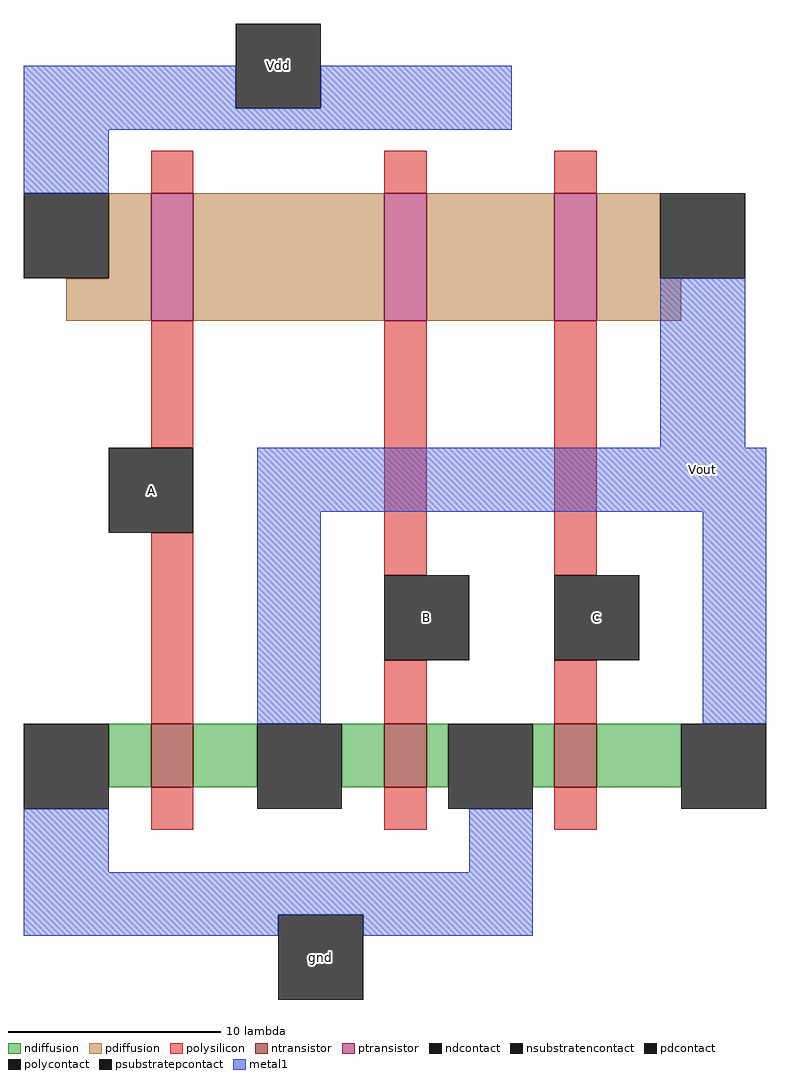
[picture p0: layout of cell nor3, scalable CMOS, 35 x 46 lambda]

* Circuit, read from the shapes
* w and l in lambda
.subckt nor3 A B C Vdd Vout gnd
M1 Vout A gnd gnd nfet w=3 l=2
M2 gnd B Vout gnd nfet w=3 l=2
M3 Vout C gnd gnd nfet w=3 l=2
M4 n1 A Vdd Vdd pfet w=6 l=2
M5 n2 B n1 Vdd pfet w=6 l=2
M6 Vout C n2 Vdd pfet w=6 l=2
.ends

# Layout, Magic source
magic
tech scmos
<< polysilicon >>
rect 5 24 7 26
rect 16 24 18 26
rect 24 24 26 26
rect 5 12 7 18
rect 5 -1 7 8
rect 16 6 18 18
rect 24 6 26 18
rect 16 -1 18 2
rect 24 -1 26 2
rect 5 -6 7 -4
rect 16 -6 18 -4
rect 24 -6 26 -4
<< ndiffusion >>
rect 3 -4 5 -1
rect 7 -4 10 -1
rect 14 -4 16 -1
rect 18 -4 19 -1
rect 23 -4 24 -1
rect 26 -4 30 -1
<< pdiffusion >>
rect 3 20 5 24
rect 1 18 5 20
rect 7 18 16 24
rect 18 18 24 24
rect 26 20 29 24
rect 26 18 30 20
<< metal1 >>
rect -1 28 9 30
rect 13 28 22 30
rect -1 27 22 28
rect -1 24 3 27
rect 29 12 33 20
rect 10 9 34 12
rect 10 -1 13 9
rect 31 -1 34 9
rect -1 -8 3 -5
rect 20 -8 23 -5
rect -1 -10 23 -8
rect -1 -11 11 -10
rect 15 -11 23 -10
<< ntransistor >>
rect 5 -4 7 -1
rect 16 -4 18 -1
rect 24 -4 26 -1
<< ptransistor >>
rect 5 18 7 24
rect 16 18 18 24
rect 24 18 26 24
<< polycontact >>
rect 3 8 7 12
rect 16 2 20 6
rect 24 2 28 6
<< ndcontact >>
rect -1 -5 3 -1
rect 10 -5 14 -1
rect 19 -5 23 -1
rect 30 -5 34 -1
<< pdcontact >>
rect -1 20 3 24
rect 29 20 33 24
<< psubstratepcontact >>
rect 11 -14 15 -10
<< nsubstratencontact >>
rect 9 28 13 32
<< labels >>
rlabel polycontact 3 8 7 12 1 A
rlabel nsubstratencontact 9 28 13 32 5 Vdd
rlabel polycontact 16 2 20 6 1 B
rlabel metal1 29 9 33 13 7 Vout
rlabel polycontact 24 2 28 6 1 C
rlabel psubstratepcontact 11 -14 15 -10 1 gnd
<< end >>
